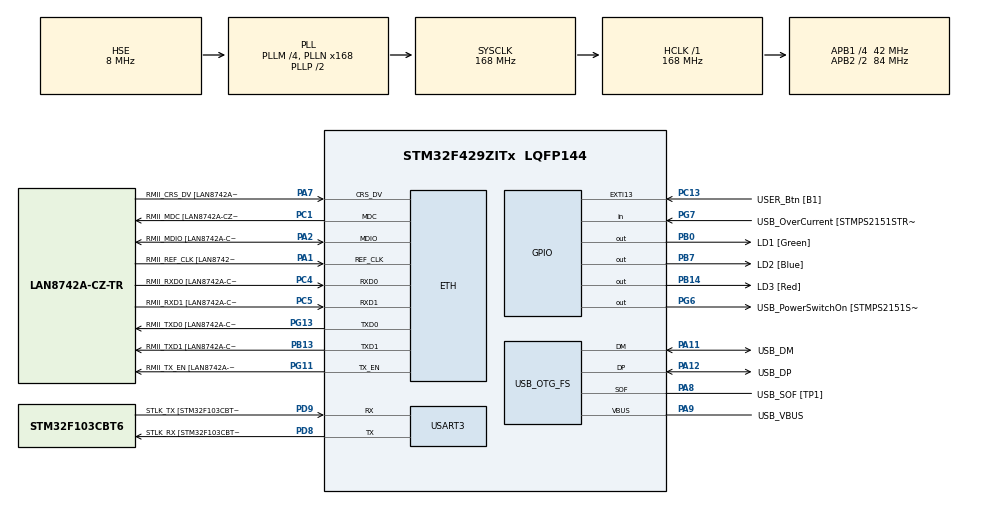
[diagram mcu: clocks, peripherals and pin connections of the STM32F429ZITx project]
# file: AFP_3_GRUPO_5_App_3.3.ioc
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ETH.MediaInterface=HAL_ETH_RMII_MODE
ETH.PHY_Name=LAN8742A_PHY_ADDRESS
ETH.PHY_Value=0
ETH.PhyAddress=0
Mcu.Family=STM32F4
Mcu.Name=STM32F429ZITx
Mcu.Package=LQFP144
NVIC.PriorityGroup=NVIC_PRIORITYGROUP_4
PA1.GPIO_Label=RMII_REF_CLK [LAN8742A-CZ-TR_REFCLK0]
PA1.Mode=RMII
PA1.Signal=ETH_REF_CLK
PA10.GPIO_Label=USB_ID
PA10.Signal=USB_OTG_FS_ID
PA11.GPIO_Label=USB_DM
PA11.Mode=Device_Only
PA11.Signal=USB_OTG_FS_DM
PA12.GPIO_Label=USB_DP
PA12.Mode=Device_Only
PA12.Signal=USB_OTG_FS_DP
PA13.GPIO_Label=TMS
PA13.Mode=Serial_Wire
PA13.Signal=SYS_JTMS-SWDIO
PA14.GPIO_Label=TCK
PA14.Mode=Serial_Wire
PA14.Signal=SYS_JTCK-SWCLK
PA2.GPIO_Label=RMII_MDIO [LAN8742A-CZ-TR_MDIO]
PA2.Mode=RMII
PA2.Signal=ETH_MDIO
PA7.GPIO_Label=RMII_CRS_DV [LAN8742A-CZ-TR_CRS_DV]
PA7.Mode=RMII
PA7.Signal=ETH_CRS_DV
PA8.GPIO_Label=USB_SOF [TP1]
PA8.Mode=Activate_SOF_FS
PA8.Signal=USB_OTG_FS_SOF
PA9.GPIO_Label=USB_VBUS
PA9.Mode=Activate_VBUS
PA9.Signal=USB_OTG_FS_VBUS
PB0.GPIO_Label=LD1 [Green]
PB0.Signal=GPIO_Output
PB13.GPIO_Label=RMII_TXD1 [LAN8742A-CZ-TR_TXD1]
PB13.Mode=RMII
PB13.Signal=ETH_TXD1
PB14.GPIO_Label=LD3 [Red]
PB14.Signal=GPIO_Output
PB7.GPIO_Label=LD2 [Blue]
PB7.Signal=GPIO_Output
PC1.GPIO_Label=RMII_MDC [LAN8742A-CZ-TR_MDC]
PC1.Mode=RMII
PC1.Signal=ETH_MDC
PC13.GPIO_Label=USER_Btn [B1]
PC13.Signal=GPXTI13
PC14/OSC32_IN.Mode=LSE-External-Oscillator
PC14/OSC32_IN.Signal=RCC_OSC32_IN
PC15/OSC32_OUT.Mode=LSE-External-Oscillator
PC15/OSC32_OUT.Signal=RCC_OSC32_OUT
PC4.GPIO_Label=RMII_RXD0 [LAN8742A-CZ-TR_RXD0]
PC4.Mode=RMII
PC4.Signal=ETH_RXD0
PC5.GPIO_Label=RMII_RXD1 [LAN8742A-CZ-TR_RXD1]
PC5.Mode=RMII
PC5.Signal=ETH_RXD1
PD8.GPIO_Label=STLK_RX [STM32F103CBT6_PA3]
PD8.Mode=Asynchronous
PD8.Signal=USART3_TX
PD9.GPIO_Label=STLK_TX [STM32F103CBT6_PA2]
PD9.Mode=Asynchronous
PD9.Signal=USART3_RX
PG11.GPIO_Label=RMII_TX_EN [LAN8742A-CZ-TR_TXEN]
PG11.Mode=RMII
PG11.Signal=ETH_TX_EN
PG13.GPIO_Label=RMII_TXD0 [LAN8742A-CZ-TR_TXD0]
PG13.Mode=RMII
PG13.Signal=ETH_TXD0
PG6.GPIO_Label=USB_PowerSwitchOn [STMPS2151STR_EN]
PG6.Signal=GPIO_Output
PG7.GPIO_Label=USB_OverCurrent [STMPS2151STR_FAULT]
PG7.Signal=GPIO_Input
PH0/OSC_IN.GPIO_Label=MCO [STM32F103CBT6_PA8]
PH0/OSC_IN.Mode=HSE-External-Clock-Source
PH0/OSC_IN.Signal=RCC_OSC_IN
PH1/OSC_OUT.Mode=HSE-External-Clock-Source
PH1/OSC_OUT.Signal=RCC_OSC_OUT
ProjectManager.HeapSize=0x200
ProjectManager.StackSize=0x400
ProjectManager.TargetToolchain=STM32CubeIDE
RCC.48MHZClocksFreq_Value=48000000
RCC.AHBFreq_Value=168000000
RCC.APB1CLKDivider=RCC_HCLK_DIV4
RCC.APB1Freq_Value=42000000
RCC.APB1TimFreq_Value=84000000
RCC.APB2CLKDivider=RCC_HCLK_DIV2
RCC.APB2Freq_Value=84000000
RCC.APB2TimCLKDivider=2
RCC.APB2TimFreq_Value=168000000
RCC.CortexFreq_Value=168000000
RCC.HCLKFreq_Value=168000000
RCC.HSE_VALUE=8000000
RCC.HSI_VALUE=16000000
RCC.PLLM=4
RCC.PLLMUL=RCC_PLL_MUL9
RCC.PLLN=168
RCC.PLLQ=7
RCC.PRESCALERUSB=RCC_USBCLKSOURCE_PLL_DIV1_5
RCC.SYSCLKFreq_VALUE=168000000
RCC.SYSCLKSource=RCC_SYSCLKSOURCE_PLLCLK
RCC.SYSCLKSourceVirtual=RCC_SYSCLKSOURCE_PLLCLK
RCC.USBFreq_Value=48000000
RCC.VCOOutputFreq_Value=336000000
USART3.VirtualMode=VM_ASYNC
USB_OTG_FS.VirtualMode=Device_Only
board=NUCLEO-F429ZI

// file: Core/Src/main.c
/* USER CODE BEGIN Header */
/**
  ******************************************************************************
  * @file           : main.c
  * @brief          : Main program body
  ******************************************************************************
  * @attention
  *
  * Copyright (c) 2024 STMicroelectronics.
  * All rights reserved.
  *
  * This software is licensed under terms that can be found in the LICENSE file
  * in the root directory of this software component.
  * If no LICENSE file comes with this software, it is provided AS-IS.
  *
  ******************************************************************************
  */
/* USER CODE END Header */
#include "main.h"
#include "string.h"
#include <stdbool.h>
#include "API_GPIO.h"
#include "API_Delay.h"

ETH_TxPacketConfig TxConfig;
ETH_DMADescTypeDef  DMARxDscrTab[ETH_RX_DESC_CNT]; /* Ethernet Rx DMA Descriptors */
ETH_DMADescTypeDef  DMATxDscrTab[ETH_TX_DESC_CNT]; /* Ethernet Tx DMA Descriptors */

ETH_HandleTypeDef heth;

UART_HandleTypeDef huart3;

PCD_HandleTypeDef hpcd_USB_OTG_FS;

void SystemClock_Config(void);
void MX_GPIO_Init(void);
void MX_ETH_Init(void);
void MX_USART3_UART_Init(void);
void MX_USB_OTG_FS_PCD_Init(void);

int main(void)
{

  /* MCU Configuration--------------------------------------------------------*/

  /* Reset of all peripherals, Initializes the Flash interface and the Systick. */
  HAL_Init();

  /* Configure the system clock */
  SystemClock_Config();

  /* Initialize all configured peripherals */
  MX_GPIO_Init();
  MX_ETH_Init();
  MX_USART3_UART_Init();
  MX_USB_OTG_FS_PCD_Init();
  /* USER CODE BEGIN 2 */

  uint16_t vector_leds[CANT_LEDS] = {LD1_Pin, LD2_Pin, LD3_Pin};
  uint8_t secuencia_actual = 1;

  delay_t tiempo_sec1;
  delay_t tiempo_sec2;
  delay_t tiempo_sec3_led1;
  delay_t tiempo_sec3_led2;
  delay_t tiempo_sec3_led3;
  delay_t tiempo_sec4;

  delay_t lectura_boton;

  delayInit(&tiempo_sec1, 150);
  delayInit(&tiempo_sec2, 300);
  delayInit(&tiempo_sec3_led1, 100);
  delayInit(&tiempo_sec3_led2, 300);
  delayInit(&tiempo_sec3_led3, 600);
  delayInit(&tiempo_sec4, 150);
  delayInit(&lectura_boton, 40);

  buttonStatus_t estado_boton;
  bool_t boton_bloqueado = false;

  uint8_t led_actual = 0;
  bool_t estado_led = false;

  /* USER CODE END 2 */

  /* Infinite loop */
  /* USER CODE BEGIN WHILE */
  while (1)
  {

	  if(readButton_GPIO()){
		  if(delayRead(&lectura_boton) && !boton_bloqueado){
			  estado_boton = true;
			  boton_bloqueado = true;
		  }
	  }else{
		  boton_bloqueado = false;
	  }

	  if(estado_boton){
		  for(int i=0;i<CANT_LEDS;i++){
			  writeLedOff_GPIO(vector_leds[i]);
		  }
		  if(secuencia_actual == 3){
			  for(int i=0;i<CANT_LEDS;i++){
				  if(i%2){
					  writeLedOn_GPIO(vector_leds[i]);
				  }else{
					  writeLedOff_GPIO(vector_leds[i]);
				  }
			  }
			  secuencia_actual += 1;
		  }else if(secuencia_actual == 4){
			  secuencia_actual = 1;
		  }else{
			  secuencia_actual += 1;
		  }
		  estado_boton = false;
	  }

	  //secuencia 1

	  if(delayRead(&tiempo_sec1) && secuencia_actual == 1){
		  if(estado_led){
			  writeLedOff_GPIO(vector_leds[led_actual]);

			  if(led_actual == (CANT_LEDS-1)){
				  led_actual = 0;
			  }else{
				  led_actual++;
			  }

			  estado_led = false;
		  }else{
			  writeLedOn_GPIO(vector_leds[led_actual]);
			  estado_led = true;
		  }
	  }

	  // secuencia 2
	  if(delayRead(&tiempo_sec2) && secuencia_actual == 2){
		  if(estado_led){
			  for(int i=0;i<CANT_LEDS;i++){
				  writeLedOff_GPIO(vector_leds[i]);
			  }
			  estado_led = false;
		  }else{
			  for(int i=0;i<CANT_LEDS;i++){
				  writeLedOn_GPIO(vector_leds[i]);
			  }
			  estado_led = true;
		  }
	  }

	 //secuencia 3
	  if(secuencia_actual == 3){
		  if(delayRead(&tiempo_sec3_led1)){
			  toggleLed_GPIO(vector_leds[0]);
		  }
		  if(delayRead(&tiempo_sec3_led2)){
			  toggleLed_GPIO(vector_leds[1]);
		  }
		  if(delayRead(&tiempo_sec3_led3)){
			  toggleLed_GPIO(vector_leds[2]);
		  }
	  }

	  //secuencia 4
	  if(delayRead(&tiempo_sec4) && secuencia_actual == 4){
		  if(estado_led){
			  for(int i=0;i<CANT_LEDS;i++){
				  toggleLed_GPIO(vector_leds[i]);
			  }
			  estado_led = false;
		  }else{
			  for(int i=0;i<CANT_LEDS;i++){
				  toggleLed_GPIO(vector_leds[i]);
			  }
			  estado_led = true;
		  }
	  }

    /* USER CODE END WHILE */

  }
}
void SystemClock_Config(void)
{
  RCC_OscInitTypeDef RCC_OscInitStruct = {0};
  RCC_ClkInitTypeDef RCC_ClkInitStruct = {0};

  /** Configure the main internal regulator output voltage
  */
  __HAL_RCC_PWR_CLK_ENABLE();
  __HAL_PWR_VOLTAGESCALING_CONFIG(PWR_REGULATOR_VOLTAGE_SCALE1);

  /** Initializes the RCC Oscillators according to the specified parameters
  * in the RCC_OscInitTypeDef structure.
  */
  RCC_OscInitStruct.OscillatorType = RCC_OSCILLATORTYPE_HSE;
  RCC_OscInitStruct.HSEState = RCC_HSE_BYPASS;
  RCC_OscInitStruct.PLL.PLLState = RCC_PLL_ON;
  RCC_OscInitStruct.PLL.PLLSource = RCC_PLLSOURCE_HSE;
  RCC_OscInitStruct.PLL.PLLM = 4;
  RCC_OscInitStruct.PLL.PLLN = 168;
  RCC_OscInitStruct.PLL.PLLP = RCC_PLLP_DIV2;
  RCC_OscInitStruct.PLL.PLLQ = 7;
  if (HAL_RCC_OscConfig(&RCC_OscInitStruct) != HAL_OK)
  {
    Error_Handler();
  }

  /** Initializes the CPU, AHB and APB buses clocks
  */
  RCC_ClkInitStruct.ClockType = RCC_CLOCKTYPE_HCLK|RCC_CLOCKTYPE_SYSCLK
                              |RCC_CLOCKTYPE_PCLK1|RCC_CLOCKTYPE_PCLK2;
  RCC_ClkInitStruct.SYSCLKSource = RCC_SYSCLKSOURCE_PLLCLK;
  RCC_ClkInitStruct.AHBCLKDivider = RCC_SYSCLK_DIV1;
  RCC_ClkInitStruct.APB1CLKDivider = RCC_HCLK_DIV4;
  RCC_ClkInitStruct.APB2CLKDivider = RCC_HCLK_DIV2;

  if (HAL_RCC_ClockConfig(&RCC_ClkInitStruct, FLASH_LATENCY_5) != HAL_OK)
  {
    Error_Handler();
  }
}

void MX_ETH_Init(void)
{

   static uint8_t MACAddr[6];

  heth.Instance = ETH;
  MACAddr[0] = 0x00;
  MACAddr[1] = 0x80;
  MACAddr[2] = 0xE1;
  MACAddr[3] = 0x00;
  MACAddr[4] = 0x00;
  MACAddr[5] = 0x00;
  heth.Init.MACAddr = &MACAddr[0];
  heth.Init.MediaInterface = HAL_ETH_RMII_MODE;
  heth.Init.TxDesc = DMATxDscrTab;
  heth.Init.RxDesc = DMARxDscrTab;
  heth.Init.RxBuffLen = 1524;

  if (HAL_ETH_Init(&heth) != HAL_OK)
  {
    Error_Handler();
  }

  memset(&TxConfig, 0 , sizeof(ETH_TxPacketConfig));
  TxConfig.Attributes = ETH_TX_PACKETS_FEATURES_CSUM | ETH_TX_PACKETS_FEATURES_CRCPAD;
  TxConfig.ChecksumCtrl = ETH_CHECKSUM_IPHDR_PAYLOAD_INSERT_PHDR_CALC;
  TxConfig.CRCPadCtrl = ETH_CRC_PAD_INSERT;

}

void MX_USART3_UART_Init(void)
{

  huart3.Instance = USART3;
  huart3.Init.BaudRate = 115200;
  huart3.Init.WordLength = UART_WORDLENGTH_8B;
  huart3.Init.StopBits = UART_STOPBITS_1;
  huart3.Init.Parity = UART_PARITY_NONE;
  huart3.Init.Mode = UART_MODE_TX_RX;
  huart3.Init.HwFlowCtl = UART_HWCONTROL_NONE;
  huart3.Init.OverSampling = UART_OVERSAMPLING_16;
  if (HAL_UART_Init(&huart3) != HAL_OK)
  {
    Error_Handler();
  }

}

void MX_USB_OTG_FS_PCD_Init(void)
{

  hpcd_USB_OTG_FS.Instance = USB_OTG_FS;
  hpcd_USB_OTG_FS.Init.dev_endpoints = 4;
  hpcd_USB_OTG_FS.Init.speed = PCD_SPEED_FULL;
  hpcd_USB_OTG_FS.Init.dma_enable = DISABLE;
  hpcd_USB_OTG_FS.Init.phy_itface = PCD_PHY_EMBEDDED;
  hpcd_USB_OTG_FS.Init.Sof_enable = ENABLE;
  hpcd_USB_OTG_FS.Init.low_power_enable = DISABLE;
  hpcd_USB_OTG_FS.Init.lpm_enable = DISABLE;
  hpcd_USB_OTG_FS.Init.vbus_sensing_enable = ENABLE;
  hpcd_USB_OTG_FS.Init.use_dedicated_ep1 = DISABLE;
  if (HAL_PCD_Init(&hpcd_USB_OTG_FS) != HAL_OK)
  {
    Error_Handler();
  }

}

void Error_Handler(void)
{
  __disable_irq();
  while (1)
  {
  }
}
